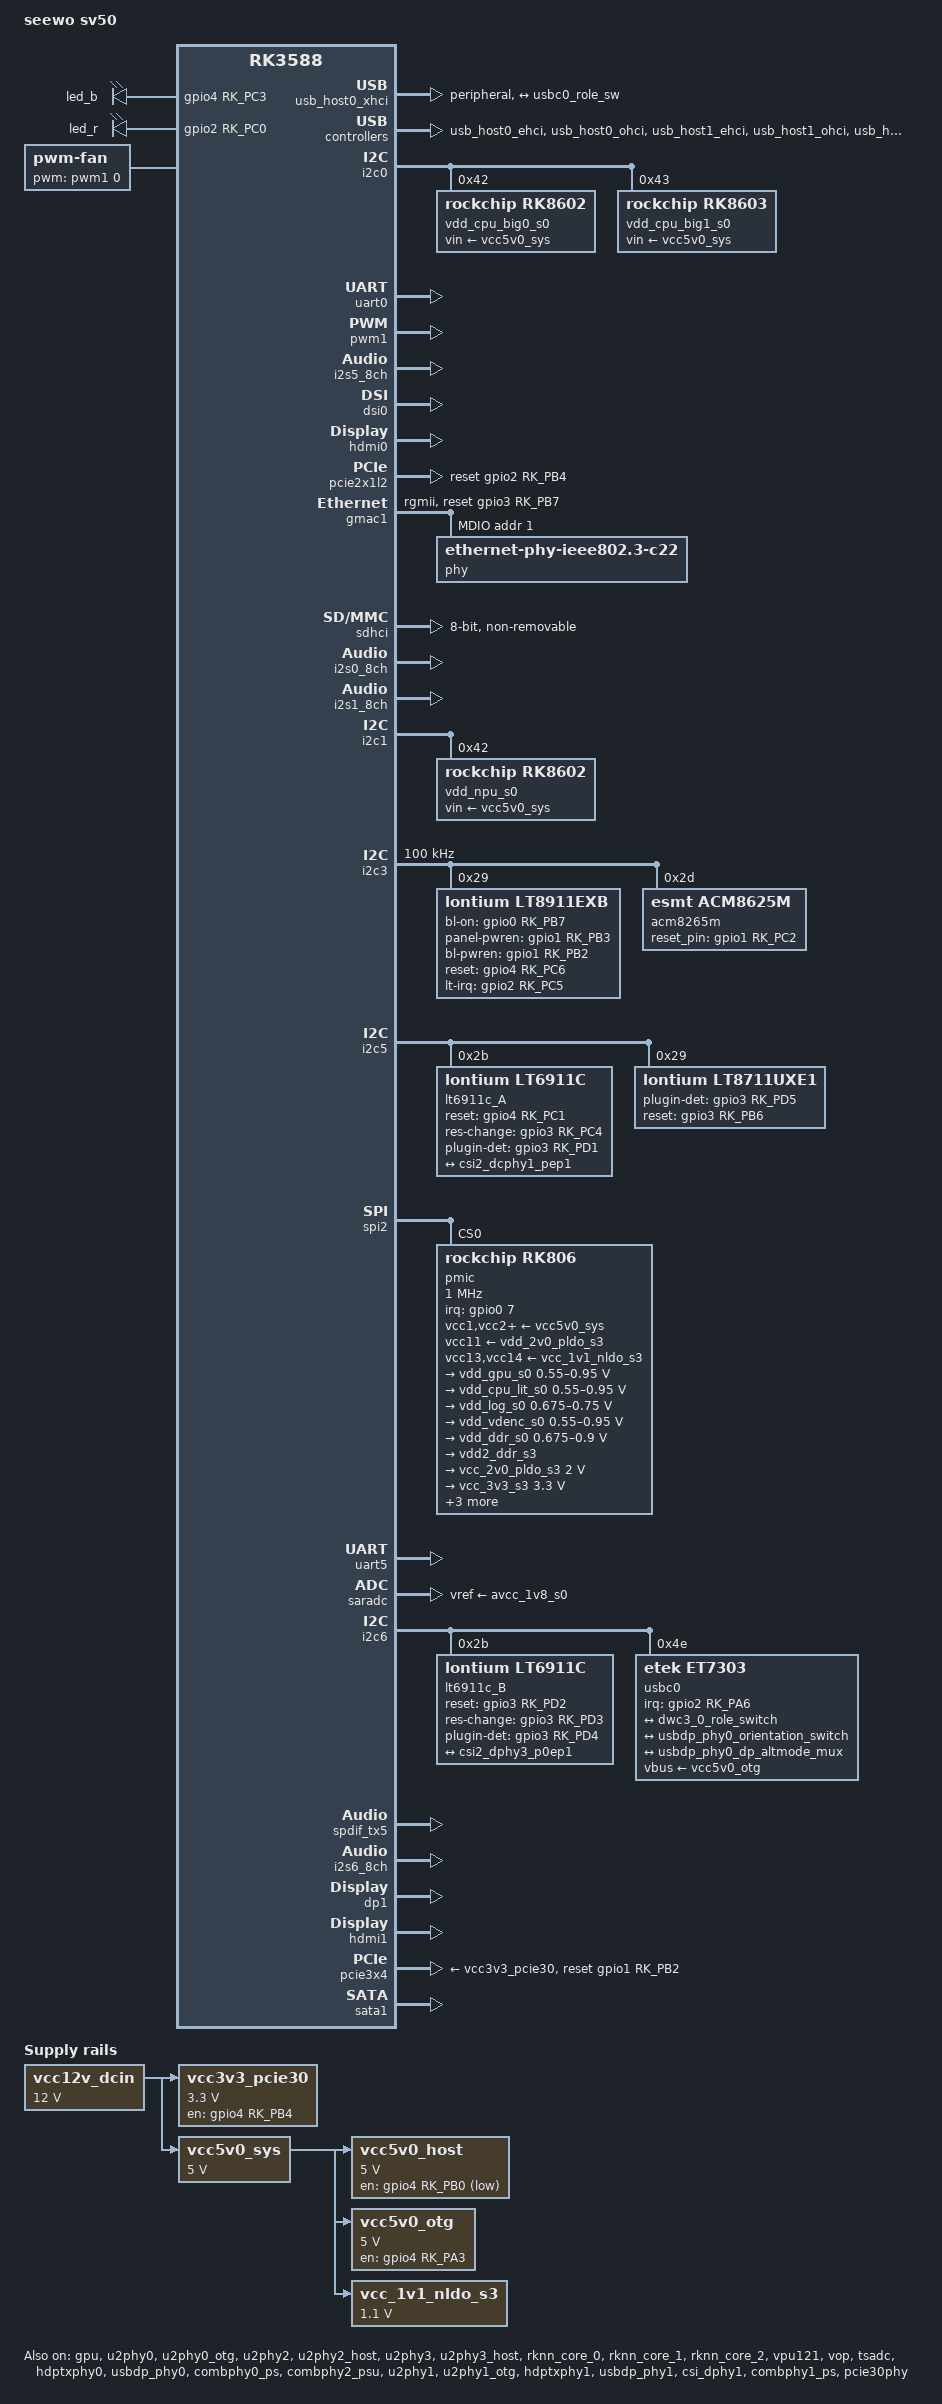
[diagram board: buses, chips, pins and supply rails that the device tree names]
/dts-v1/;

#include <dt-bindings/gpio/gpio.h>
#include <dt-bindings/leds/common.h>
#include <dt-bindings/soc/rockchip,vop2.h>
#include <dt-bindings/usb/pd.h>
#include "rk3588.dtsi"

/ {
	model = "seewo sv50";
	compatible = "seewo,sv50", "rockchip,rk3588";

	aliases {
		mmc1 = &sdhci;
	};

	chosen {
		bootargs = "rootwait earlycon=uart8250,mmio32,0xfeb50000 console=ttyFIQ0 irqchip.gicv3_pseudo_nmi=0 clk_gate.always_on=1 pm_domains.always_on=1";
	};

	acm8265m_sound: i2s0-sound {
		status = "okay";
		compatible = "simple-audio-card";
		simple-audio-card,format = "i2s";
		simple-audio-card,mclk-fs = <0x100>;
		simple-audio-card,name = "rockchip,acm8265m";

		simple-audio-card,dai-link@0 {
			format = "i2s";
			cpu {
				sound-dai = <&i2s0_8ch>;
			};

			codec {
				sound-dai = <&acm8265m>;
			};
		};
	};

	i2s1-sound {
		compatible = "simple-audio-card";
		simple-audio-card,format = "i2s";
		simple-audio-card,mclk-fs = <0x100>;
		simple-audio-card,name = "rockchip,audio";
		status = "okay";

		simple-audio-card,cpu {
			sound-dai = <&i2s1_8ch>;
		};

		simple-audio-card,codec {
			sound-dai = <&dummy-codec-spk-out>;
		};
	};

	dummy-codec-spk-out {
		status = "okay";
		compatible = "rockchip,dummy-codec";
		#sound-dai-cells = <0>;
	};

	leds {
		compatible = "gpio-leds";
		pinctrl-names = "default";

		led_b {
			gpios = <&gpio4 RK_PC3 GPIO_ACTIVE_HIGH>;
			label = "led_b";
			linux,default-trigger = "heartbeat";
			default-state = "on";
			pinctrl-0 = <&sys_led_pin>;
	};

		led_r {
			gpios = <&gpio2 RK_PC0 GPIO_ACTIVE_HIGH>;
			label = "led_r";
			pinctrl-0 = <&usr_led_pin>;
		};
	};

	fan: pwm-fan {
		compatible = "pwm-fan";
		cooling-levels = <0 120 150 180 210 240 255>;
		pwms = <&pwm1 0 50000 0>;
		#cooling-cells = <2>;
	};

	vcc12v_dcin: vcc12v-dcin{
		compatible = "regulator-fixed";
		regulator-name = "vcc12v_dcin";
		regulator-always-on;
		regulator-boot-on;
		regulator-min-microvolt = <12000000>;
		regulator-max-microvolt = <12000000>;
	};

	vcc3v3_pcie30: regulator-vcc3v3-pcie30 {
		compatible = "regulator-fixed";
		enable-active-high;
		gpios = <&gpio4 RK_PB4 GPIO_ACTIVE_HIGH>;
		regulator-name = "vcc3v3_pcie30";
		regulator-min-microvolt = <3300000>;
		regulator-max-microvolt = <3300000>;
		startup-delay-us = <7500>;
		vin-supply = <&vcc12v_dcin>;
	};

	vcc5v0_sys: regulator-vcc5v0-sys {
		compatible = "regulator-fixed";
		regulator-name = "vcc5v0_sys";
		regulator-always-on;
		regulator-boot-on;
		regulator-min-microvolt = <5000000>;
		regulator-max-microvolt = <5000000>;
		vin-supply = <&vcc12v_dcin>;
	};

	vcc5v0_host: vcc5v0-host-regulator {
		compatible = "regulator-fixed";
		regulator-name = "vcc5v0_host";
		regulator-always-on;
		regulator-boot-on;
		regulator-min-microvolt = <5000000>;
		regulator-max-microvolt = <5000000>;
		gpios = <&gpio4 RK_PB0 GPIO_ACTIVE_HIGH>;
		pinctrl-0 = <&vcc5v0_host_en>;
		vin-supply = <&vcc5v0_sys>;
	};

	vcc5v0_otg: vcc5v0-otg-regulator {
		compatible = "regulator-fixed";
		enable-active-high;
		gpios = <&gpio4 RK_PA3 GPIO_ACTIVE_HIGH>;
		pinctrl-0 = <&vcc5v0_otg_en>;
		regulator-name = "vcc5v0_otg";
		regulator-min-microvolt = <5000000>;
		regulator-max-microvolt = <5000000>;
		vin-supply = <&vcc5v0_sys>;
	};

	vcc_1v1_nldo_s3: regulator-vcc-1v1-nldo-s3 {
		compatible = "regulator-fixed";
		regulator-name = "vcc_1v1_nldo_s3";
		regulator-always-on;
		regulator-boot-on;
		regulator-min-microvolt = <1100000>;
		regulator-max-microvolt = <1100000>;
		vin-supply = <&vcc5v0_sys>;
	};

	firmware {

		scmi: scmi {
			#address-cells = <1>;
			#size-cells = <0>;

			scmi_clk: protocol@14 {
				reg = <0x14>;
				#clock-cells = <1>;
				assigned-clocks = <0x0e 0x00 0x0e 0x02 0x0e 0x03>;
				assigned-clock-rates = <0x30a32c00 0x30a32c00 0x30a32c00>;
			};
		};

		sdei: sdei {
			compatible = "arm,sdei-1.0";
			method = "smc";
		};

		optee: optee {
			compatible = "linaro,optee-tz";
			method = "smc";
		};
	};

	dp1_sound: dp1-sound {
		status = "okay";
		compatible = "rockchip,hdmi";
		rockchip,card-name = "rockchip-dp1";
		rockchip,mclk-fs = <512>;
		rockchip,cpu = <&spdif_tx5>;
		rockchip,codec = <&dp1 1>;
		rockchip,jack-det;
	};

	hdmi0_sound: hdmi0-sound {
		status = "okay";
		compatible = "rockchip,hdmi";
		simple-audio-card,format = "i2s";
		simple-audio-card,mclk-fs = <128>;
		simple-audio-card,name = "rockchip,hdmi0";

		simple-audio-card,cpu {
			sound-dai = <&i2s5_8ch>;
		};

		simple-audio-card,codec {
			sound-dai = <&hdmi0>;
		};
	};

	hdmi1_sound: hdmi1-sound {
		status = "okay";
		compatible = "rockchip,hdmi";
		simple-audio-card,format = "i2s";
		simple-audio-card,mclk-fs = <128>;
		simple-audio-card,name = "rockchip,hdmi1";

		simple-audio-card,cpu {
			sound-dai = <&i2s6_8ch>;
		};

		simple-audio-card,codec {
			sound-dai = <&hdmi1>;
		};
	};
};

&cpu_b0 {
	cpu-supply = <&vdd_cpu_big0_s0>;
};

&cpu_b2 {
	cpu-supply = <&vdd_cpu_big1_s0>;
};

&cpu_l0 {
	cpu-supply = <&vdd_cpu_lit_s0>;
};

&gpu {
	mali-supply = <&vdd_gpu_s0>;
	upthreshold = <30>;
	downdifferential = <10>;
	status = "okay";
};

&usb_host0_xhci {
	dr_mode = "peripheral";
	tx-fifo-resize;
	status = "okay";

	dwc3_0_role_switch: endpoint@0 {
		reg = <0>;
		remote-endpoint = <&usbc0_role_sw>;
	};
};

&usb_host0_ehci {
	status = "okay";
};

&usb_host0_ohci {
	status = "okay";
};

&usb_host1_ehci {
	status = "okay";
};

&usb_host1_ohci {
	status = "okay";
};

&usb_host2_xhci {
	status = "okay";
};

&u2phy0 {
	status = "okay";
};

&u2phy0_otg {
	vbus-supply = <&vcc5v0_otg>;
	rockchip,typec-vbus-det;
	rockchip,dis-u2-susphy;
	status = "okay";
};

&u2phy2 {
	status = "okay";
};

&u2phy2_host {
	phy-supply = <&vcc5v0_sys>;
	status = "okay";
};

&u2phy3 {
	status = "okay";
};

&u2phy3_host {
	phy-supply = <&vcc5v0_host>;
	status = "okay";
};

&i2c0 {
	pinctrl-names = "default";
	pinctrl-0 = <&i2c0m2_xfer>;
	status = "okay";

	vdd_cpu_big0_s0: regulator@42 {
		compatible = "rockchip,rk8602";
		reg = <0x42>;
		vin-supply = <&vcc5v0_sys>;
		regulator-compatible = "rk860x-reg";
		regulator-name = "vdd_cpu_big0_s0";
		regulator-min-microvolt = <550000>;
		regulator-max-microvolt = <1050000>;
		regulator-ramp-delay = <2300>;
		rockchip,suspend-voltage-selector = <1>;
		regulator-boot-on;
		regulator-always-on;

		regulator-state-mem {
			regulator-off-in-suspend;
		};
	};

	vdd_cpu_big1_s0: regulator@43 {
		compatible = "rockchip,rk8603";
		reg = <0x43>;
		vin-supply = <&vcc5v0_sys>;
		regulator-compatible = "rk860x-reg";
		regulator-name = "vdd_cpu_big1_s0";
		regulator-min-microvolt = <550000>;
		regulator-max-microvolt = <1050000>;
		regulator-ramp-delay = <2300>;
		rockchip,suspend-voltage-selector = <1>;
		regulator-boot-on;
		regulator-always-on;

		regulator-state-mem {
			regulator-off-in-suspend;
		};
	};
};

&uart0 {
	pinctrl-0 = <&uart0m0_xfer>;
	status = "okay";
};

&pwm1 {
	pinctrl-0 = <&pwm1m0_pins>;
	status = "okay";
};

&rknn_core_0 {
	npu-supply = <&vdd_npu_s0>;
	sram-supply = <&vdd_npu_s0>;
	status = "okay";
};

&rknn_mmu_0 {
	status = "okay";
};

&rknn_core_1 {
	npu-supply = <&vdd_npu_s0>;
	sram-supply = <&vdd_npu_s0>;
	status = "okay";
};

&rknn_mmu_1 {
	status = "okay";
};

&rknn_core_2 {
	npu-supply = <&vdd_npu_s0>;
	sram-supply = <&vdd_npu_s0>;
	status = "okay";
};

&rknn_mmu_2 {
	status = "okay";
};

&vpu121 {
	reg = <0x0 0xfdb50400 0x0 0x400>;
	rockchip,normal-rates = <594000000 0>;
	assigned-clocks = <&cru ACLK_VPU>;
	assigned-clock-rates = <594000000>;
	resets = <&cru HCLK_RKVDEC1_PRE &cru ACLK_RKVDEC1_PRE>;
	rockchip,skip-pmu-idle-request;
	status = "okay";
};

&av1d {
	status = "disabled";
};

/*mipi1-csi2@fdd20000*/

&vop {
	status = "okay";
	assigned-clocks = <&cru ACLK_VOP>;
	assigned-clock-rates = <800000000>;
	skip-ref-fb;
};

&vop_mmu {
	status = "okay";
};

&vp0 {
	vp0_out_hdmi0: endpoint@ROCKCHIP_VOP2_EP_HDMI0 {
		reg = <ROCKCHIP_VOP2_EP_HDMI0>;
		remote-endpoint = <&hdmi0_in_vp0>;
	};
};

&vp1 {
	vp1_out_hdmi1: endpoint@ROCKCHIP_VOP2_EP_HDMI1 {
		reg = <ROCKCHIP_VOP2_EP_HDMI1>;
		remote-endpoint = <&hdmi1_in_vp1>;
	};
};

&vp2 {
	vp2_out_dp1: endpoint@ROCKCHIP_VOP2_EP_DP1 {
		reg = <ROCKCHIP_VOP2_EP_DP1>;
		remote-endpoint = <&dp1_in_vp2>;
	};
};

&vp3 {
	vp3_out_dsi0: endpoint@ROCKCHIP_VOP2_EP_LVDS0 {
		reg = <ROCKCHIP_VOP2_EP_LVDS0>;
		remote-endpoint = <&dsi0_in_vp3>;
	};
};

&i2s5_8ch {
	rockchip,playback-only;
	status = "okay";
};

&dsi0 {
	status = "okay";
};

&dsi0_in {
	dsi0_in_vp3_in_vp2: endpoint {
		remote-endpoint = <&vp3_out_dsi0>;
	};
};

&hdmi0 {
	status = "okay";
	enable-gpios = <&gpio4 RK_PB1 GPIO_ACTIVE_HIGH>;
	pinctrl-0 = <&hdmim0_tx0_hpd &hdmim0_tx0_scl &hdmim0_tx0_sda>;
};

&hdmi0_in {
	hdmi0_in_vp0: endpoint {
		remote-endpoint = <&vp0_out_hdmi0>;
	};
};

&pcie2x1l2 {
	ranges = <0x800 0x0 0xf4000000 0x0 0xf4000000 0x0 0x100000>,
		 <0x81000000 0x0 0xf4100000 0x0 0xf4100000 0x0 0x100000>,
		 <0x82000000 0x0 0xf4200000 0x0 0xf4200000 0x0 0xe00000>,
		 <0xc3000000 0xa 0x00000000 0xa 0x00000000 0x0 0x40000000>;
	reg = <0x00 0xfe190000 0x0 0x10000>,
		<0xa 0x41000000 0x0 0x400000>;
	reset-gpios = <&gpio2 RK_PB4 GPIO_ACTIVE_HIGH>;
	status = "okay";
};

&gmac1 {
	local-mac-address = [90 e4 68 52 8e 14];
	phy-mode = "rgmii";
	clock_in_out = "output";
	snps,reset-gpio = <&gpio3 RK_PB7 GPIO_ACTIVE_HIGH>;
	snps,reset-active-high;
	snps,reset-delays-us = <0 250000 500000>;
	pinctrl-0 = <&gmac1_miim &gmac1_tx_bus2 &gmac1_rx_bus2 &gmac1_rgmii_clk &gmac1_rgmii_bus>;
	tx_delay = <0x42>;
	rx_delay = <0x4f>;
	status = "okay";

	mdio0: mdio {
		status = "okay";

		phy@1 {
			compatible = "ethernet-phy-ieee802.3-c22";
			reg = <1>;
		};
	};
};

&sdhci {
	bus-width = <8>;
	no-sdio;
	no-sd;
	non-removable;
	mmc-hs400-1_8v;
	mmc-hs400-enhanced-strobe;
	status = "okay";
};

&i2s0_8ch {
	pinctrl-names = "default";
	pinctrl-0 = <&i2s0_lrck
		     &i2s0_sclk
		     &i2s0_sdo0>;
	status = "okay";
};

&i2s1_8ch {
	pinctrl-0 = <&i2s1m0_lrck
		     &i2s1m0_sclk
		     &i2s1m0_sdi0
		     &i2s1m0_sdi1
		     &i2s1m0_sdi2
		     &i2s1m0_sdi3
		     &i2s1m0_sdo0>;
	status = "okay";
};

&i2c1 {
	pinctrl-names = "default";
	pinctrl-0 = <&i2c1m2_xfer>;
	status = "okay";
		
	vdd_npu_s0: regulator@42 {
		compatible = "rockchip,rk8602";
		reg = <0x42>;
		vin-supply = <&vcc5v0_sys>;
		regulator-compatible = "rk860x-reg";
		regulator-name = "vdd_npu_s0";
		regulator-min-microvolt = <550000>;
		regulator-max-microvolt = <950000>;
		regulator-ramp-delay = <2300>;
		rockchip,suspend-voltage-selector = <1>;
		regulator-boot-on;

		regulator-state-mem {
			regulator-off-in-suspend;
		};
	};
};

&i2c3 {
	pinctrl-names = "default";
	clock-frequency = <100000>;
	status = "okay";
	
	lt8911exb: lt8911exb@29 {
		compatible = "lontium,lt8911exb";
		reg = <0x29>;
		bl-on-gpios = <&gpio0 RK_PB7 GPIO_ACTIVE_HIGH>;
		panel-pwren-gpios = <&gpio1 RK_PB3 GPIO_ACTIVE_HIGH>;
		bl-pwren-gpios = <&gpio1 RK_PB2 GPIO_ACTIVE_HIGH>;
		reset-gpios = <&gpio4 RK_PC6 GPIO_ACTIVE_HIGH>;
		lt-irq-gpios = <&gpio2 RK_PC5 GPIO_ACTIVE_HIGH>;
		status = "okay";
	};

	acm8265m: acm8265m@2d {
		status = "okay";
		compatible = "esmt,acm8625m";
		reg = <0x2d>;
		reset_pin = <&gpio1 RK_PC2 GPIO_ACTIVE_HIGH>;
		no_mclk;
	};

};

&i2c5 {
	pinctrl-names = "default";
	pinctrl-0 = <&i2c5m0_xfer>;
	status = "okay";

	lt6911c_A: lt6911c_A@2b {
		status = "okay";
		compatible = "lontium,lt6911c";
		reg = <0x2b>;
		clocks = <&cru CLK_MIPI_CAMARAOUT_M2>;
		clock-names = "xvclk";
		reset-gpios = <&gpio4 RK_PC1 GPIO_ACTIVE_HIGH>;
		res-change-gpios = <&gpio3 RK_PC4 GPIO_ACTIVE_HIGH>;
		plugin-det-gpios = <&gpio3 RK_PD1 GPIO_ACTIVE_HIGH>;
		rockchip,camera-module-index = <0>;
		rockchip,camera-module-facing = "back";
		rockchip,camera-module-name = "lt6911c_A";
		rockchip,camera-module-lens-name = "NC";
		cvte,hdmi-port-name = "HDMIIN1";

		port {

			lt6911c_A_pep: endpoint {
				remote-endpoint = <&csi2_dcphy1_pep1>;
				data-lanes = <1 2 3 4>;
			};
		};
	};

	lt8711uxe1: lt8711uxe1@29 {
		status = "okay";
		compatible = "lontium,lt8711uxe1";
		reg = <0x29>;
		plugin-det-gpios = <&gpio3 RK_PD5 GPIO_ACTIVE_HIGH>;
		reset-gpios = <&gpio3 RK_PB6 GPIO_ACTIVE_HIGH>;
	};
};

&spi2 {
	status = "okay";
	assigned-clocks = <&cru CLK_SPI2>;
	assigned-clock-rates = <200000000>;
	pinctrl-names = "default";
	pinctrl-0 = <&spi2m2_cs0 &spi2m2_pins>;
	num-cs = <1>;

	pmic@0 {
		compatible = "rockchip,rk806";
		spi-max-frequency = <1000000>;
		reg = <0x0>;
		
		interrupt-parent = <&gpio0>;
		interrupts = <7 IRQ_TYPE_LEVEL_LOW>;

		pinctrl-names = "default";
		pinctrl-0 = <&pmic_pins &rk806_dvs1_null &rk806_dvs2_null &rk806_dvs3_null>;
		pinctrl-1 = <&rk806_dvs1_slp &rk806_dvs2_null &rk806_dvs3_null>;

		system-power-controller;

		vcc1-supply = <&vcc5v0_sys>;
		vcc2-supply = <&vcc5v0_sys>;
		vcc3-supply = <&vcc5v0_sys>;
		vcc4-supply = <&vcc5v0_sys>;
		vcc5-supply = <&vcc5v0_sys>;
		vcc6-supply = <&vcc5v0_sys>;
		vcc7-supply = <&vcc5v0_sys>;
		vcc8-supply = <&vcc5v0_sys>;
		vcc9-supply = <&vcc5v0_sys>;
		vcc10-supply = <&vcc5v0_sys>;
		vcc11-supply = <&vdd_2v0_pldo_s3>;
		vcc12-supply = <&vcc5v0_sys>;
		vcc13-supply = <&vcc_1v1_nldo_s3>;
		vcc14-supply = <&vcc_1v1_nldo_s3>;
		vcca-supply = <&vcc5v0_sys>;

		gpio-controller;
		#gpio-cells = <2>;

		rk806_dvs1_null {
			pins = "gpio_pwrctrl2";
			function = "pin_fun0";
		};

		rk806_dvs1_slp {
			pins = "gpio_pwrctrl1";
			function = "pin_fun1";
		};

		rk806_dvs2_null {
			pins = "gpio_pwrctrl2";
			function = "pin_fun0";
		};

		rk806_dvs3_null {
			pins = "gpio_pwrctrl3";
			function = "pin_fun0";
		};

		regulators {
			vdd_gpu_s0: vdd_gpu_mem_s0: dcdc-reg1 {
				regulator-boot-on;
				regulator-min-microvolt = <550000>;
				regulator-max-microvolt = <950000>;
				regulator-ramp-delay = <12500>;
				regulator-name = "vdd_gpu_s0";

				regulator-state-mem {
					regulator-off-in-suspend;
				};
			};

			vdd_cpu_lit_s0: vdd_cpu_lit_mem_s0: dcdc-reg2 {
				regulator-always-on;
				regulator-boot-on;
				regulator-min-microvolt = <550000>;
				regulator-max-microvolt = <950000>;
				regulator-ramp-delay = <12500>;
				regulator-name = "vdd_cpu_lit_s0";

				regulator-state-mem {
					regulator-off-in-suspend;
				};
			};

			vdd_log_s0: dcdc-reg3 {
				regulator-always-on;
				regulator-boot-on;
				regulator-min-microvolt = <675000>;
				regulator-max-microvolt = <750000>;
				regulator-ramp-delay = <12500>;
				regulator-name = "vdd_log_s0";

				regulator-state-mem {
					regulator-on-in-suspend;
				};
			};

			vdd_vdenc_s0: vdd_vdenc_mem_s0: dcdc-reg4 {
				regulator-always-on;
				regulator-boot-on;
				regulator-min-microvolt = <550000>;
				regulator-max-microvolt = <950000>;
				regulator-ramp-delay = <12500>;
				regulator-name = "vdd_vdenc_s0";

				regulator-state-mem {
					regulator-off-in-suspend;
				};
			};

			vdd_ddr_s0: dcdc-reg5 {
				regulator-always-on;
				regulator-boot-on;
				regulator-min-microvolt = <675000>;
				regulator-max-microvolt = <900000>;
				regulator-ramp-delay = <12500>;
				regulator-name = "vdd_ddr_s0";

				regulator-state-mem {
					regulator-off-in-suspend;
					regulator-suspend-microvolt = <850000>;
				};
			};

			vdd2_ddr_s3: dcdc-reg6 {
				regulator-always-on;
				regulator-boot-on;
				regulator-name = "vdd2_ddr_s3";

				regulator-state-mem {
					regulator-on-in-suspend;
				};
			};

			vcc_2v0_pldo_s3: dcdc-reg7 {
				regulator-always-on;
				regulator-boot-on;
				regulator-min-microvolt = <2000000>;
				regulator-max-microvolt = <2000000>;
				regulator-ramp-delay = <12500>;
				regulator-name = "vdd_2v0_pldo_s3";

				regulator-state-mem {
					regulator-on-in-suspend;
					regulator-suspend-microvolt = <2000000>;
				};
			};

			vcc_3v3_s3: dcdc-reg8 {
				regulator-always-on;
				regulator-boot-on;
				regulator-min-microvolt = <3300000>;
				regulator-max-microvolt = <3300000>;
				regulator-name = "vcc_3v3_s3";

				regulator-state-mem {
					regulator-on-in-suspend;
				};
			};

			vddq_ddr_s0: dcdc-reg9 {
				regulator-always-on;
				regulator-boot-on;
				regulator-name = "vddq_ddr_s0";

				regulator-state-mem {
					regulator-off-in-suspend;
				};
			};

			vcc_1v8_s3: dcdc-reg10 {
				regulator-always-on;
				regulator-boot-on;
				regulator-min-microvolt = <1800000>;
				regulator-max-microvolt = <1800000>;
				regulator-name = "vcc_1v8_s3";

				regulator-state-mem {
					regulator-on-in-suspend;
					regulator-suspend-microvolt = <1800000>;
				};
			};

			avcc_1v8_s0: pldo-reg1 {
				regulator-always-on;
				regulator-boot-on;
				regulator-min-microvolt = <1800000>;
				regulator-max-microvolt = <1800000>;
				regulator-name = "avcc_1v8_s0";

				regulator-state-mem {
					regulator-off-in-suspend;
					regulator-on-in-suspend;
					regulator-suspend-microvolt = <1800000>;
				};
			};

			vcc_1v8_s0: pldo-reg2 {
				regulator-always-on;
				regulator-boot-on;
				regulator-min-microvolt = <1800000>;
				regulator-max-microvolt = <1800000>;
				regulator-name = "vcc_1v8_s0";

				regulator-state-mem {
					regulator-off-in-suspend;
					regulator-suspend-microvolt = <1800000>;
				};
			};

			avdd_1v2_s0: pldo-reg3 {
				regulator-always-on;
				regulator-boot-on;
				regulator-min-microvolt = <1200000>;
				regulator-max-microvolt = <1200000>;
				regulator-name = "avdd_1v2_s0";

				regulator-state-mem {
					regulator-off-in-suspend;
				};
			};

			vcc_3v3_s0: pldo-reg4 {
				regulator-always-on;
				regulator-boot-on;
				regulator-min-microvolt = <3300000>;
				regulator-max-microvolt = <3300000>;
				regulator-name = "vcc_3v3_s0";

				regulator-state-mem {
					regulator-off-in-suspend;
				};
			};

			vccio_sd_s0: pldo-reg5 {
				regulator-always-on;
				regulator-boot-on;
				regulator-min-microvolt = <1800000>;
				regulator-max-microvolt = <3300000>;
				regulator-name = "vccio_sd_s0";

				regulator-state-mem {
					regulator-off-in-suspend;
				};
			};

			pldo6_s3: pldo-reg6 {
				regulator-always-on;
				regulator-boot-on;
				regulator-min-microvolt = <1800000>;
				regulator-max-microvolt = <1800000>;
				regulator-name = "pldo6_s3";

				regulator-state-mem {
					regulator-on-in-suspend;
					regulator-suspend-microvolt = <1800000>;
				};
			};

			vdd_0v75_s3: nldo-reg1 {
				regulator-always-on;
				regulator-boot-on;
				regulator-min-microvolt = <750000>;
				regulator-max-microvolt = <750000>;
				regulator-name = "vdd_0v75_s3";

				regulator-state-mem {
					regulator-on-in-suspend;
					regulator-suspend-microvolt = <750000>;
				};
			};

			vdd_ddr_pll_s0: nldo-reg2 {
				regulator-always-on;
				regulator-boot-on;
				regulator-min-microvolt = <850000>;
				regulator-max-microvolt = <850000>;
				regulator-name = "vdd_ddr_pll_s0";

				regulator-state-mem {
					regulator-off-in-suspend;
					regulator-suspend-microvolt = <850000>;
				};
			};

			avdd_0v75_s0: nldo-reg3 {
				regulator-always-on;
				regulator-boot-on;
				regulator-min-microvolt = <750000>;
				regulator-max-microvolt = <750000>;
				regulator-name = "avdd_0v75_s0";

				regulator-state-mem {
					regulator-off-in-suspend;
				};
			};

			vdd_0v85_s0: nldo-reg4 {
				regulator-always-on;
				regulator-boot-on;
				regulator-min-microvolt = <850000>;
				regulator-max-microvolt = <850000>;
				regulator-name = "vdd_0v85_s0";

				regulator-state-mem {
					regulator-off-in-suspend;
				};
			};

			vdd_0v75_s0: nldo-reg5 {
				regulator-always-on;
				regulator-boot-on;
				regulator-min-microvolt = <750000>;
				regulator-max-microvolt = <750000>;
				regulator-name = "vdd_0v75_s0";

				regulator-state-mem {
					regulator-off-in-suspend;
				};
			};
		};
	};
};

&uart5 {
	pinctrl-0 = <&uart5m0_xfer>;
	status = "okay";
};

&tsadc {
	pinctrl-0 = <&tsadc_gpio_func>;
	pinctrl-1 = <&tsadc_shut_org>;
	status = "okay";
};

&saradc {
	vref-supply = <&avcc_1v8_s0>;
	status = "okay";
};

&i2c6 {
	pinctrl-names = "default";
	pinctrl-0 = <&i2c6m0_xfer>;
	status = "okay";

	lt6911c_B: lt6911c_B@2b {
		status = "okay";
		compatible = "lontium,lt6911c";
		reg = <0x2b>;
		clocks = <&cru CLK_MIPI_CAMARAOUT_M4>;
		clock-names = "xvclk";
		reset-gpios = <&gpio3 RK_PD2 GPIO_ACTIVE_HIGH>;
		res-change-gpios = <&gpio3 RK_PD3 GPIO_ACTIVE_HIGH>;
		plugin-det-gpios = <&gpio3 RK_PD4 GPIO_ACTIVE_HIGH>;
		rockchip,camera-module-index = <1>;
		rockchip,camera-module-facing = "back";
		rockchip,camera-module-name = "lt6911c_B";
		rockchip,camera-module-lens-name = "NC";
		cvte,hdmi-port-name = "HDMIIN2";

		port {
			lt6911c_B_pep: endpoint {
				remote-endpoint = <&csi2_dphy3_p0ep1>;
				data-lanes = <1 2 3 4>;
			};
		};
	};

	usbc0: et7304@4e {
		compatible = "etek,et7303";
		reg = <0x4e>;
		interrupt-parent = <&gpio2>;
		interrupts = <RK_PA6 IRQ_TYPE_LEVEL_LOW>;
		pinctrl-names = "default";
		pinctrl-0 = <&usbc0_int>;
		vbus-supply = <&vcc5v0_otg>;
		status = "okay";

		ports {
			#address-cells = <1>;
			#size-cells = <0>;

			port@0 {
				reg = <0>;

				usbc0_role_sw: endpoint@0 {
					remote-endpoint = <&dwc3_0_role_switch>;
				};
			};
		};

		usb_con: connector {
			compatible = "usb-c-connector";
			label = "USB-C";
			data-role = "dual";
			power-role = "dual";
			try-power-role = "sink";
			op-sink-microwatt = <1000000>;
			sink-pdos = <PDO_FIXED(5000, 2000, PDO_FIXED_USB_COMM)>;
			source-pdos = <PDO_FIXED(5000, 3000, PDO_FIXED_USB_COMM)>;

			altmodes {
				#address-cells = <1>;
				#size-cells = <0>;

				altmode@0 {
					reg = <0>;
					svid = <0xff01>;
					vdo = <0xffffffff>;
				};
			};

			ports {
				#address-cells = <1>;
				#size-cells = <0>;

				port@0 {
					reg = <0>;

					usbc0_orien_sw: endpoint {
						remote-endpoint = <&usbdp_phy0_orientation_switch>;
					};
				};

				port@1 {
					reg = <1>;

					dp_altmode_mux: endpoint {
						remote-endpoint = <&usbdp_phy0_dp_altmode_mux>;
					};
				};
			};
		};
	};
};

&hdptxphy0 {
	status = "okay";
};

&usbdp_phy0 {
	status = "okay";
	orientation-switch;
	svid = <0xff01>;
	sbu1-dc-gpios = <&gpio0 RK_PC6 GPIO_ACTIVE_HIGH>;
	sbu2-dc-gpios = <&gpio0 RK_PD3 GPIO_ACTIVE_HIGH>;

	usbdp_phy0_dp: dp-port {
		status = "okay";
	};

	usbdp_phy0_u3: u3-port {
		status = "okay";
	};

	port {
		#address-cells = <1>;
		#size-cells = <0>;
		usbdp_phy0_orientation_switch: endpoint@0 {
			reg = <0>;
			remote-endpoint = <&usbc0_orien_sw>;
		};

		usbdp_phy0_dp_altmode_mux: endpoint@1 {
			reg = <1>;
			remote-endpoint = <&dp_altmode_mux>;
		};
	};
};

&combphy0_ps {
	status = "okay";
};

&combphy2_psu {
	status = "okay";
};

&pinctrl {
	usb {
		vcc5v0_host_en: vcc5v0-host-en {
			rockchip,pins = <4 RK_PB0 RK_FUNC_GPIO &pcfg_pull_none>;
			};
		vcc5v0_otg_en: vcc5v0-otg-en {
			rockchip,pins = <4 RK_PA3 RK_FUNC_GPIO &pcfg_pull_none>;
		};

		usbc0_int: usbc0-int {
			rockchip,pins = <2 RK_PA6 RK_FUNC_GPIO &pcfg_pull_none>;
		};
	};

	gpio-leds {
		sys_led_pin: sys-led-pin {
			rockchip,pins = <4 RK_PC3 RK_FUNC_GPIO &pcfg_pull_none>;
		};

		usr_led_pin: usr-led-pin {
			rockchip,pins = <2 RK_PC0 RK_FUNC_GPIO &pcfg_pull_none>;
		};
	};

	mmc {
		sdmmc_det_pin: sdmmc-det-pin {
			rockchip,pins = <0 RK_PA4 RK_FUNC_GPIO &pcfg_pull_none>;
		};
	};

	sata {
		sata1_pm_reset: sata1-pm-reset {
			rockchip,pins = <4 RK_PB6 RK_FUNC_GPIO &pcfg_pull_none>;
		};
	};
};

&usb_host1_xhci {
	status = "okay";

	usbdrd_dwc3_1 {
		dr_mode = "host";
		phys = <&u2phy0_otg &usbdp_phy1_u3>;
		snps,parkmode-disable-ss-quirk;
		status = "okay";
	};
};

&u2phy1 {
	status = "okay";
};

&u2phy1_otg {
	phy-supply = <&vcc5v0_host>;
	status = "okay";
};

/*mipi4-csi2@fdd50000*/

&spdif_tx5 {
	status = "okay";
};

&i2s6_8ch {
	rockchip,playback-only;
	status = "okay";
};

&dp1 {
	status = "okay";
	pinctrl-0 = <&dp1m0_pins>;
	pinctrl-names = "default";
	nvr-mode;
};

&dp1_in {
	dp1_in_vp2: endpoint {
		remote-endpoint = <&vp2_out_dp1>;
	};
};

&hdmi1 {
	status = "okay";
	enable-gpios = <&gpio4 RK_PB2 GPIO_ACTIVE_HIGH>;
	pinctrl-0 = <&hdmim0_tx1_hpd &hdmim1_tx1_scl &hdmim1_tx1_sda>;
};

&hdmi1_in {
	hdmi1_in_vp1: endpoint {
		remote-endpoint = <&vp1_out_hdmi1>;
	};
};

&pcie3x4 {
	ranges = <0x800 0x0 0xf0000000 0x0 0xf0000000 0x0 0x100000>,
		 <0x81000000 0x0 0xf0100000 0x0 0xf0100000 0x0 0x100000>,
		 <0x82000000 0x0 0xf0200000 0x0 0xf0200000 0x0 0xe00000>,
		 <0xc3000000 0x9 0x00000000 0x9 0x00000000 0x0 0x40000000>;
	reg = <0x0 0xfe150000 0x0 0x10000>,
	      <0xa 0x40000000 0x0 0x400000>;
	reset-gpios = <&gpio1 RK_PB2 GPIO_ACTIVE_HIGH>;
	vpcie3v3-supply = <&vcc3v3_pcie30>;
	status = "okay";
};

&sata1 {
	status = "okay";
};

&hdptxphy1 {
	status = "okay";
};

&usbdp_phy1 {
	status = "okay";

	rockchip,dp-lane-mux = <2 3>;

	usbdp_phy1_u3: u3-port {
		status = "okay";
	};
};

&csi_dphy1 {
	status = "okay";
};

&combphy1_ps {
	status = "okay";
};

&pcie30phy {
	status = "okay";
};








&package_thermal {
	polling-delay = <1000>;

	trips {
		package_fan0: package-fan0 {
			temperature = <55000>;
			hysteresis = <2000>;
			type = "active";
		};

		package_fan1: package-fan1 {
			temperature = <65000>;
			hysteresis = <2000>;
			type = "active";
		};
	};

	cooling-maps {
		map0 {
			trip = <&package_fan0>;
			cooling-device = <&fan THERMAL_NO_LIMIT 1>;
		};

		map1 {
			trip = <&package_fan1>;
			cooling-device = <&fan 2 THERMAL_NO_LIMIT>;
		};
	};
};

&pd_gpu {
	domain-supply = <&vdd_gpu_s0>;
};

&pd_npu {
	domain-supply = <&vdd_npu_s0>;
};




